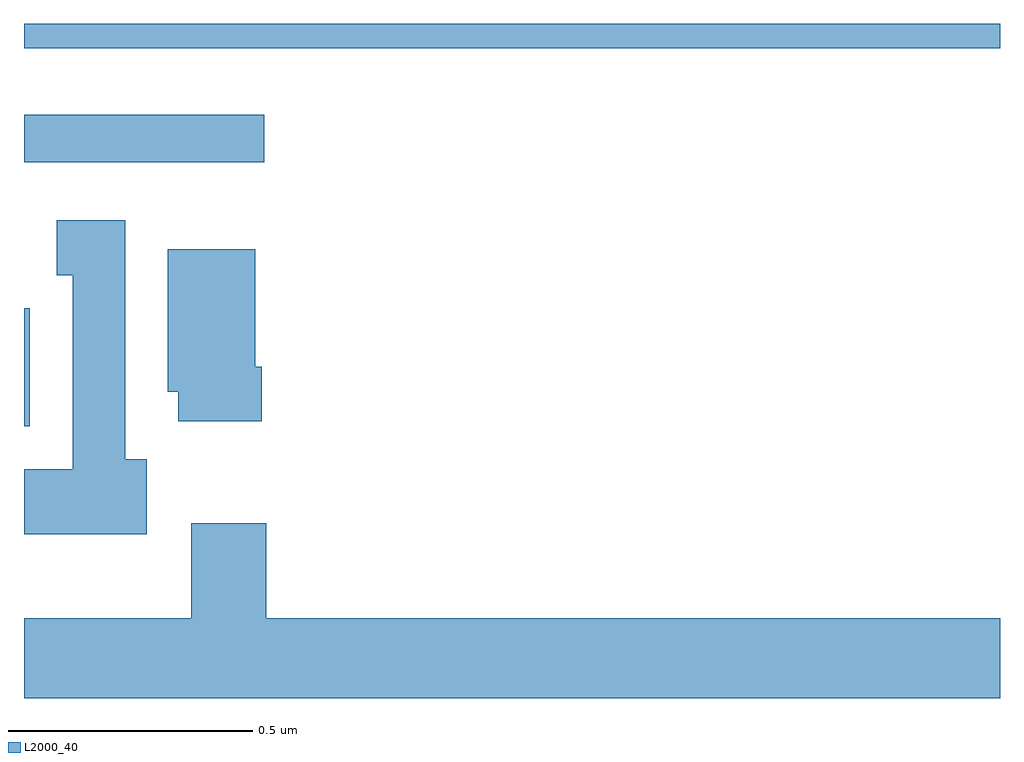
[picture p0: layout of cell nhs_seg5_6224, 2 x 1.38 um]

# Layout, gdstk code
import gdstk
lib = gdstk.Library(unit=1e-6, precision=1e-09)
def R(c, l, rs):  # rectangles x0, y0, x1, y1
    for r in rs: c.add(gdstk.rectangle(r[:2], r[2:], *l))
def P(c, l, *ps):  # polygons
    for p in ps: c.add(gdstk.Polygon(p, *l))
L2000_40 = (2000, 40)

nhs_seg5_6224 = lib.new_cell('nhs_seg5_6224')
R(nhs_seg5_6224, L2000_40, [(193,867.974,193.012,868.216), (193,868.515,193.492,868.612), (193,868.748,195,868.799)])
P(nhs_seg5_6224, L2000_40, [(193.252,867.906),(193.207,867.906),(193.207,868.396),(193.067,868.396),(193.067,868.283),(193.1,868.283),(193.1,867.886),(193,867.886),(193,867.752),(193.252,867.752)],
  [(193.487,868.096),(193.474,868.096),(193.474,868.336),(193.295,868.336),(193.295,868.044),(193.316,868.044),(193.316,867.984),(193.487,867.984)],
  [(195,867.58),(193.496,867.58),(193.496,867.775),(193.343,867.775),(193.343,867.58),(193,867.58),(193,867.416),(195,867.416)])

lib.write_gds('nhs_seg5_6224.gds')
